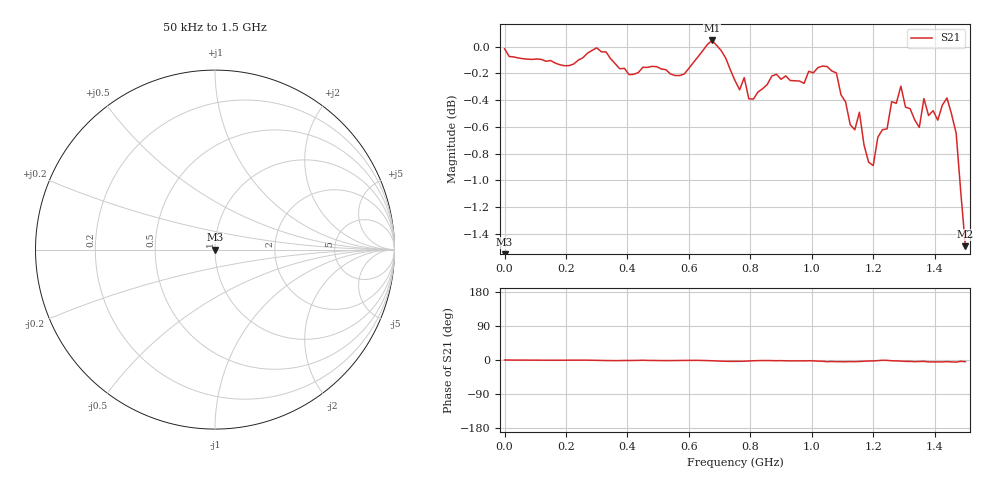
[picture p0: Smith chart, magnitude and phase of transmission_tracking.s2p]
! Created with skrf 1.8.0 (http://scikit-rf.org).
# Hz S RI R 50.0
!freq ReS11 ImS11 ReS21 ImS21 ReS12 ImS12 ReS22 ImS22
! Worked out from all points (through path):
!   101 points, 50 kHz to 1.5 GHz, reference 50 ohm
!   highest |S21| = 0.05 dB at 675 MHz (marker M1); lowest = -1.5 dB at 1.5 GHz (marker M2)
!   lowest |S11| = - dB at 50 kHz (marker M3), VSWR 1.00, Z = 50 + j0 ohm
!   |S11| at or under -10 dB: start of sweep to end of sweep
!   S12 and S22 are empty: the file has one direction only
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50000  0 0  0.9981 -6.58e-05  0 0  0 0
2.550415e8  0 0  0.9905 -0.00537  0 0  0 0
5.10033e8  0 0  0.9806 -0.0257  0 0  0 0
6.30029e8  0 0  0.9913 -0.0166  0 0  0 0
6.750275e8  0 0  1.005 -0.0345  0 0  0 0
7.50025e8  0 0  0.9693 -0.0613  0 0  0 0
8.40022e8  0 0  0.9641 -0.025  0 0  0 0
1.005016e9  0 0  0.9769 -0.0379  0 0  0 0
1.050015e9  0 0  0.98 -0.077  0 0  0 0
1.125012e9  0 0  0.9326 -0.068  0 0  0 0
1.155012e9  0 0  0.9428 -0.0651  0 0  0 0
1.20001e9  0 0  0.9019 -0.0377  0 0  0 0
1.230009e9  0 0  0.9309 -0.011  0 0  0 0
1.260008e9  0 0  0.9531 -0.0332  0 0  0 0
1.290007e9  0 0  0.9653 -0.0488  0 0  0 0
1.350005e9  0 0  0.9306 -0.0634  0 0  0 0
1.365004e9  0 0  0.9544 -0.0605  0 0  0 0
1.380004e9  0 0  0.9387 -0.083  0 0  0 0
1.440002e9  0 0  0.954 -0.0716  0 0  0 0
1.470001e9  0 0  0.9239 -0.0882  0 0  0 0
1.485e9  0 0  0.8803 -0.0568  0 0  0 0
1.5e9  0 0  0.8398 -0.0623  0 0  0 0
